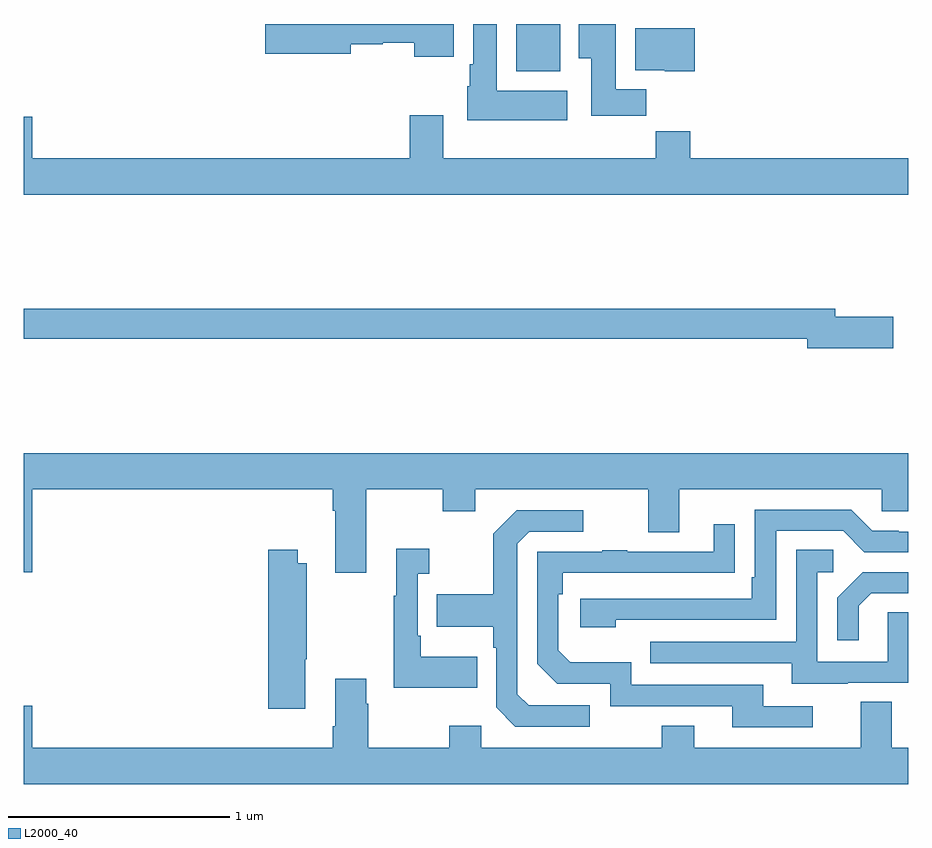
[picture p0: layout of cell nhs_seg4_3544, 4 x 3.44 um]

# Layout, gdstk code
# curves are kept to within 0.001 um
import gdstk
lib = gdstk.Library(unit=1e-6, precision=1e-09)
def R(c, l, rs):  # rectangles x0, y0, x1, y1
    for r in rs: c.add(gdstk.rectangle(r[:2], r[2:], *l))
def P(c, l, *ps):  # polygons
    for p in ps: c.add(gdstk.Polygon(p, *l))
L2000_40 = (2000, 40)

nhs_seg4_3544 = lib.new_cell('nhs_seg4_3544')
R(nhs_seg4_3544, L2000_40, [(299.228,822.686,299.425,822.9)])
P(nhs_seg4_3544, L2000_40, [(299.458,822.598),(299.14,822.598),(299.14,822.9),(299.033,822.9),(299.033,822.718),(299.018,822.718),(299.018,822.618),(299.006,822.618),(299.006,822.464),(299.458,822.464)],
  [(299.816,822.604),(299.677,822.604),(299.677,822.9),(299.51,822.9),(299.51,822.745),(299.567,822.745),(299.567,822.486),(299.816,822.486)],
  [(298.945,822.9),(298.092,822.9),(298.092,822.766),(298.48,822.766),(298.48,822.808),(298.623,822.808),(298.623,822.816),(298.766,822.816),(298.766,822.752),(298.945,822.752)],
  [(300.034,822.88),(299.765,822.88),(299.765,822.692),(299.898,822.692),(299.898,822.686),(300.034,822.686)],
  [(301,822.292),(300.014,822.292),(300.014,822.416),(299.857,822.416),(299.857,822.292),(298.897,822.292),(298.897,822.487),(298.745,822.487),(298.745,822.292),(297.04,822.292),(297.04,822.481),(297,822.481),(297,822.128),(301,822.128)],
  [(300.931,821.576),(300.67,821.576),(300.67,821.612),(297,821.612),(297,821.476),(300.542,821.476),(300.542,821.434),(300.931,821.434)],
  [(297,820.422),(297.04,820.422),(297.04,820.796),(298.397,820.796),(298.397,820.7),(298.409,820.7),(298.409,820.419),(298.549,820.419),(298.549,820.796),(298.894,820.796),(298.894,820.697),(299.041,820.697),(299.041,820.796),(299.825,820.796),(299.825,820.602),(299.965,820.602),(299.965,820.796),(300.879,820.796),(300.879,820.698),(301,820.698),(301,820.96),(297,820.96)],
  [(299.678,820.206),(300.402,820.206),(300.402,820.608),(300.705,820.608),(300.801,820.512),(301,820.512),(301,820.605),(300.956,820.605),(300.956,820.608),(300.837,820.608),(300.741,820.704),(300.306,820.704),(300.306,820.399),(300.293,820.399),(300.293,820.302),(299.517,820.302),(299.517,820.172),(299.678,820.172)],
  [(299.56,819.819),(299.283,819.819),(299.232,819.87),(299.232,820.551),(299.286,820.605),(299.53,820.605),(299.53,820.701),(299.229,820.701),(299.124,820.595),(299.124,820.323),(298.867,820.323),(298.867,820.175),(299.124,820.175),(299.124,820.079),(299.136,820.079),(299.136,819.81),(299.223,819.723),(299.56,819.723)],
  [(300.568,819.816),(300.343,819.816),(300.343,819.912),(299.748,819.912),(299.748,820.015),(299.471,820.015),(299.418,820.068),(299.418,820.322),(299.438,820.322),(299.438,820.419),(300.215,820.42),(300.215,820.639),(300.119,820.639),(300.119,820.515),(299.729,820.515),(299.729,820.52),(299.617,820.52),(299.617,820.515),(299.322,820.515),(299.322,820.008),(299.412,819.918),(299.652,819.918),(299.652,819.816),(300.203,819.816),(300.203,819.72),(300.568,819.72)],
  [(299.051,820.039),(298.795,820.039),(298.795,820.135),(298.782,820.135),(298.782,820.415),(298.834,820.415),(298.834,820.528),(298.685,820.528),(298.685,820.315),(298.674,820.315),(298.674,819.899),(299.051,819.899)],
  [(300.727,819.921),(301,819.921),(301,820.241),(300.906,820.241),(300.906,820.017),(300.588,820.017),(300.588,820.422),(300.661,820.422),(300.661,820.523),(300.492,820.523),(300.492,820.107),(299.833,820.107),(299.833,820.011),(300.473,820.011),(300.473,819.917),(300.727,819.917)],
  [(298.273,820.027),(298.281,820.027),(298.281,820.462),(298.24,820.462),(298.24,820.522),(298.106,820.522),(298.106,819.804),(298.273,819.804)],
  [(300.775,820.269),(300.832,820.326),(301,820.326),(301,820.422),(300.794,820.422),(300.678,820.306),(300.678,820.113),(300.775,820.113)],
  [(301,819.628),(300.925,819.628),(300.925,819.836),(300.785,819.836),(300.785,819.628),(300.031,819.628),(300.031,819.727),(299.884,819.727),(299.884,819.628),(299.07,819.628),(299.07,819.727),(298.924,819.727),(298.924,819.628),(298.557,819.628),(298.557,819.827),(298.549,819.827),(298.549,819.94),(298.409,819.94),(298.409,819.724),(298.397,819.724),(298.397,819.628),(297.04,819.628),(297.04,819.817),(297,819.817),(297,819.464),(301,819.464)])

lib.write_gds('nhs_seg4_3544.gds')
